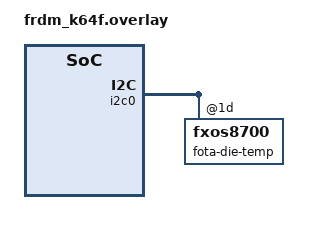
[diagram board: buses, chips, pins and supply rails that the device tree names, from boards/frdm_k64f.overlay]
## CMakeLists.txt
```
cmake_minimum_required(VERSION 3.8.2)

# This application has its own Kconfig options.
set(KCONFIG_ROOT ${CMAKE_CURRENT_SOURCE_DIR}/Kconfig)

# CONF_FILE is prj.conf, plus (in addition to, not or) the following, if they
# exist:
#   - local.conf
#   - boards/${BOARD}.conf
#   - boards/${BOARD}-local.conf
#
# The possibly nonexistent files need to be absolute paths; otherwise, the
# behavior of EXISTS is not well-defined.
set(CONF_FILE prj.conf)
if(EXISTS ${CMAKE_CURRENT_SOURCE_DIR}/local.conf)
  set(CONF_FILE ${CONF_FILE} " local.conf")
endif()
if(EXISTS ${CMAKE_CURRENT_SOURCE_DIR}/boards/${BOARD}.conf)
  set(CONF_FILE ${CONF_FILE} " boards/${BOARD}.conf")
endif()
if(EXISTS ${CMAKE_CURRENT_SOURCE_DIR}/boards/${BOARD}-local.conf)
  set(CONF_FILE ${CONF_FILE} " boards/${BOARD}-local.conf")
endif()

# DTC overlays are split into a part that is specific to the
# application image (common.overlay) and a part that is shared by both
# the application and MCUboot builds (mcuboot.overlay).
set(DTC_OVERLAY_FILE
  "${CMAKE_CURRENT_SOURCE_DIR}/common.overlay ${CMAKE_CURRENT_SOURCE_DIR}/mcuboot.overlay")
# Individual boards may also define DTS overlays.
if(EXISTS ${CMAKE_CURRENT_SOURCE_DIR}/boards/${BOARD}.overlay)
  set(DTC_OVERLAY_FILE
    ${DTC_OVERLAY_FILE} " ${CMAKE_CURRENT_SOURCE_DIR}/boards/${BOARD}.overlay")
endif()

# Mandatory Zephyr boilerplate.
include($ENV{ZEPHYR_BASE}/cmake/app/boilerplate.cmake NO_POLICY_SCOPE)
project(NONE)

# Application "library" build configuration. TODO: move these out of this tree.
target_include_directories(app PRIVATE $ENV{ZEPHYR_BASE}/lib)

target_sources(app PRIVATE src/lib/hawkbit.c)
target_sources(app PRIVATE src/lib/product_id.c)

# Application build configuration.
target_include_directories(app PRIVATE $ENV{ZEPHYR_BASE}/tests/include)
target_include_directories(app PRIVATE ${CMAKE_CURRENT_SOURCE_DIR}/src/lib)

target_sources(app PRIVATE src/main.c)
target_sources(app PRIVATE src/blink_led.c)
target_sources(app PRIVATE src/app_work_queue.c)
target_sources(app PRIVATE src/mqtt_temperature.c)
target_sources_ifdef(CONFIG_BT               app PRIVATE src/bluetooth.c)
```

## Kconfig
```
# Copyright (c) 2017 Linaro Limited
# Copyright (c) 2017 Open Source Foundries Limited
# Copyright (c) 2018 Foundries.io
#
# SPDX-License-Identifier: Apache-2.0
#

mainmenu "Open Source Foundries dm-hawkbit-mqtt Configuration"

config FOTA_DEVICE
	bool "Enable FOTA device settings"
	default y
	select FOTA_DEVICE_SOC_SERIES_KINETIS_K6X if SOC_SERIES_KINETIS_K6X
	select FOTA_DEVICE_SOC_SERIES_NRF52X if SOC_SERIES_NRF52X
	help
	  Main config to enable device specific settings

config FOTA_DEVICE_SOC_SERIES_KINETIS_K6X
	bool "Kinetis K6x application settings"
	depends on !NET_L2_OPENTHREAD
	select NET_SHELL
	select NET_IPV4
	select NET_CONFIG_NEED_IPV4
	select NET_UDP # for DHCP
	default n

if FOTA_DEVICE_SOC_SERIES_KINETIS_K6X

# IPv6 is enabled by default in Zephyr's Kconfig when networking is selected.
config NET_IPV6
	default n

endif # FOTA_DEVICE_SOC_SERIES_KINETIS_K6X

config FOTA_DEVICE_SOC_SERIES_NRF52X
	bool "Nordic Semiconductor nRF52 application settings"
	select NET_IPV6
	select NET_CONFIG_NEED_IPV6
	select NET_CONFIG_BT_NODE
	select SENSOR
	select TEMP_NRF5
	select ENTROPY_NRF5_RNG
	select NET_SHELL if SOC_NRF52840
	default n

if FOTA_DEVICE_SOC_SERIES_NRF52X

config TEMP_NRF5_NAME
	default "fota-die-temp"

if !NET_L2_OPENTHREAD && !NET_L2_IEEE802154

config BT
	default y

config BT_CTLR
	default y

config BT_DEVICE_NAME
	default "ZMP IPSP node"

config NET_CONFIG_PEER_IPV6_ADDR
	default "fe80::d4e7:0:0:1"

config NET_L2_BT
	default y

config NET_CONFIG_INIT_TIMEOUT
	default 0

config NET_TCP_RETRY_COUNT
	# Reduced TCP retry count (default is 9) to avoid locking up the net and
	# bluetooth stack on packet retransmission as it consumes too much ram
	default 2 if SOC_NRF52832

config NET_UDP
	default n

config BT_RX_BUF_COUNT
	default 10

config BT_RX_BUF_LEN
	default 128

config BT_CTLR_RX_BUFFERS
	default 6

config BT_CTLR_TX_BUFFERS
	default 7

config BT_RX_STACK_SIZE
	default 2048

config BT_L2CAP_TX_BUF_COUNT
	default 6

# The following BT configs are not needed in peripheral mode.

config BT_CTLR_CONN_PARAM_REQ
	default n

config BT_CTLR_ADV_EXT
	default n

endif # !NET_L2_OPENTHREAD && !NET_L2_IEEE802154
endif # FOTA_DEVICE_SOC_SERIES_NRF52X

# General defaults

config NET_IF_UNICAST_IPV6_ADDR_COUNT
	default 3 if BT
	default 6 if NET_L2_OPENTHREAD

config NET_IF_MCAST_IPV6_ADDR_COUNT
	default 2 if BT
	default 8 if NET_L2_OPENTHREAD

config NET_RX_STACK_SIZE
	default 5120 if NET_L2_OPENTHREAD
	default 2048

config FOTA_ERASE_PROGRESSIVELY
	bool "Erase flash progressively when updating/receiving new firmware"
	default y if SOC_NRF52840
	help
	  If enabled, flash is erased as necessary when receiving and marking
	  new firmware as ok, instead of erasing the whole image slot at once.
	  This is necessary on some hardware that has long erase times, to
	  prevent long wait times at various stages where large erases are
	  performed.

# TODO: get these from a credential partition instead.

config FOTA_MQTT_USERNAME
	string "MQTT username"
	default "mqtt-username"
	help
	   Username value to use when connecting to MQTT broker.

config FOTA_MQTT_PASSWORD
	string "MQTT password"
	default ""
	help
	   Password value to use when connecting to MQTT broker.

	   If this is the empty string, a password based on the board
	   and a board-specific ID number will be used instead. This
	   is intended for testing and development only.

module = FOTA
module-dep = LOG
module-str = Log level for FOTA application
source "subsys/logging/Kconfig.template.log_config"

# Leave this at the bottom: we need to override Zephyr's default settings
# with some of the values above.
source "$ZEPHYR_BASE/Kconfig.zephyr"
```

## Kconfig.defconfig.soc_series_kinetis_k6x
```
# Copyright (c) 2017 Linaro Limited
#
# SPDX-License-Identifier: Apache-2.0
#

if FOTA_DEVICE_SOC_SERIES_KINETIS_K6X

config NET_IF_UNICAST_IPV4_ADDR_COUNT
	int
	default 3

config NET_IF_MCAST_IPV4_ADDR_COUNT
	int
	default 2

config NET_MAX_CONN
	int
	default 5

config NET_MAX_CONTEXTS
	int
	default 5

config NET_RX_STACK_SIZE
	int
	default 2048

config NET_SAMPLES_MY_IPV4_ADDR
	string
	default 192.168.0.2

config NET_SAMPLES_PEER_IPV4_ADDR
	string
	default 192.168.0.1

config TEXT_SECTION_OFFSET
	hex
	default 0x200

config FLASH_LOAD_OFFSET
	hex
	default 0x20000

endif # FOTA_DEVICE_SOC_SERIES_KINETIS_K6X
```

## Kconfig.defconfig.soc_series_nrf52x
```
# Copyright (c) 2017 Linaro Limited
#
# SPDX-License-Identifier: Apache-2.0
#

if FOTA_DEVICE_SOC_SERIES_NRF52X

config NET_IF_UNICAST_IPV6_ADDR_COUNT
	int
	default 3

config NET_IF_MCAST_IPV6_ADDR_COUNT
	int
	default 2

config NET_MAX_CONN
	int
	default 3

config NET_MAX_CONTEXTS
	int
	default 3

config NET_RX_STACK_SIZE
	int
	default 3072

config NET_NBUF_DATA_SIZE
	int
	default 384

config BLUETOOTH_RX_BUF_COUNT
	int
	default 20

config BLUETOOTH_RX_BUF_LEN
	int
	default 128

config BLUETOOTH_CONTROLLER_RX_BUFFERS
	int
	default 6

config BLUETOOTH_CONTROLLER_TX_BUFFERS
	int
	default 7

config BLUETOOTH_RX_STACK_SIZE
	int
	default 2048

config TEXT_SECTION_OFFSET
	hex
	default 0x100

config FLASH_LOAD_OFFSET
	hex
	default 0x8000

config TEMP_NRF5_NAME
	string
	default fota-mcu-temp

endif # FOTA_DEVICE_SOC_SERIES_NRF52X
```

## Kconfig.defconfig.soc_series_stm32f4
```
# Copyright (c) 2017 Linaro Limited
#
# SPDX-License-Identifier: Apache-2.0
#

if FOTA_DEVICE_SOC_SERIES_STM32F4X

config NET_IF_UNICAST_IPV6_ADDR_COUNT
	int
	default 3

config NET_IF_MCAST_IPV6_ADDR_COUNT
	int
	default 2

config NET_MAX_CONN
	int
	default 3

config NET_MAX_CONTEXTS
	int
	default 3

config NET_RX_STACK_SIZE
	int
	default 3072

config NET_NBUF_DATA_SIZE
	int
	default 384

config BLUETOOTH_RX_BUF_COUNT
	int
	default 20

config BLUETOOTH_RX_BUF_LEN
	int
	default 128

config BLUETOOTH_RX_STACK_SIZE
	int
	default 2048

config TEXT_SECTION_OFFSET
	hex
	default 0x100

config FLASH_LOAD_OFFSET
	hex
	default 0x20000

config TEMP_STM32F401X_NAME
	string
	default fota-mcu-temp

endif # FOTA_DEVICE_SOC_SERIES_STM32F4X
```

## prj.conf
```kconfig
CONFIG_BOOT_BANNER=y
CONFIG_REBOOT=y
CONFIG_FLASH=y
CONFIG_NETWORKING=y
CONFIG_GPIO=y

# Network
CONFIG_NET_TCP=y
CONFIG_NET_MGMT=y
CONFIG_NET_MGMT_EVENT=y
CONFIG_NET_CONTEXT_NET_PKT_POOL=y
CONFIG_NET_PKT_RX_COUNT=10
CONFIG_NET_PKT_TX_COUNT=10
CONFIG_NET_BUF_RX_COUNT=15
CONFIG_NET_BUF_TX_COUNT=15
CONFIG_NET_BUF_DATA_SIZE=256
CONFIG_NET_TCP_INIT_RETRANSMISSION_TIMEOUT=2000

# MQTT
# Select MQTT_LIB manually for now to send temp data
CONFIG_MQTT_LEGACY_LIB=y
# This value was chosen arbitrarily
CONFIG_MQTT_LEGACY_MSG_MAX_SIZE=255
# add 2 more message allowance to the netbuf pool for MQTT
# Trello: https://trello.com/c/FklLCmQj/208-mqtt-seems-to-need-1-extra-buffer-at-times-to-avoid-dying-until-reboot
CONFIG_MQTT_LEGACY_ADDITIONAL_BUFFER_CTR=2
CONFIG_MQTT_LEGACY_SUBSCRIBE_MAX_TOPICS=2

# General
CONFIG_HTTP_PARSER=y

# FOTA
CONFIG_BOOTLOADER_MCUBOOT=y
CONFIG_FOTA_DEVICE=y
CONFIG_IMG_MANAGER=y
CONFIG_MCUBOOT_IMG_MANAGER=y
# The hawkBit library requires JSON support.
CONFIG_JSON_LIBRARY=y
# We run the hawkBit work on the main thread via the application work
# queue.  This requires a bit of extra space on the main stack. The
# desired value is 2300, but we add a bit to make it a multiple of 8
# for stack alignment requirements.
CONFIG_MAIN_STACK_SIZE=2304
# We don't use the upstream flash storage partition when it exists, so
# allocate its flash space to our application.
# CONFIG_FS_FLASH_STORAGE_PARTITION is not set

# NET APP
CONFIG_NET_APP=y
CONFIG_NET_APP_CLIENT=y
CONFIG_NET_CONFIG_SETTINGS=y
CONFIG_HTTP=y
CONFIG_HTTP_CLIENT=y
CONFIG_HTTP_CLIENT_NETWORK_TIMEOUT=10

# Logging
CONFIG_LOG=y
CONFIG_LOG_DEFAULT_LEVEL=0
CONFIG_BT_LOG_LEVEL_OFF=y
CONFIG_FOTA_LOG_LEVEL_DBG=y

# Bluetooth (when enabled) debug
#CONFIG_BT_DEBUG_LOG=y
#CONFIG_BT_DEBUG_HCI_DRIVER=y

# Add flash RW to MPU
CONFIG_MPU_ALLOW_FLASH_WRITE=y

# Debug helpers
#CONFIG_NET_LOG=y
#CONFIG_NET_APP_LOG_LEVEL_DBG=y
#CONFIG_NET_CORE_LOG_LEVEL_DBG=y
#CONFIG_NET_IF_LOG_LEVEL_DBG=y
#CONFIG_NET_UTILS_LOG_LEVEL_DBG=y
#CONFIG_NET_CONTEXT_LOG_LEVEL_DBG=y
#CONFIG_NET_PKT_LOG_LEVEL_DBG=y
#CONFIG_NET_CONN_LOG_LEVEL_DBG=y
#CONFIG_NET_ROUTE_LOG_LEVEL_DBG=y
#CONFIG_NET_IPV4_LOG_LEVEL_DBG=y
#CONFIG_NET_IPV6_LOG_LEVEL_DBG=y
#CONFIG_NET_ICMPV6_LOG_LEVEL_DBG=y
#CONFIG_NET_IPV6_NBR_CACHE_LOG_LEVEL_DBG=y
#CONFIG_NET_6LO_LOG_LEVEL_DBG=y
#CONFIG_NET_TCP_LOG_LEVEL_DBG=y
#CONFIG_NET_L2_ETHERNET_LOG_LEVEL_DBG=y
#CONFIG_NET_L2_BT_LOG_LEVEL_DBG=y
#CONFIG_INIT_STACKS=y
#CONFIG_STACK_USAGE=y
```

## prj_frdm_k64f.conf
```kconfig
CONFIG_FLASH=y
CONFIG_NETWORKING=y
CONFIG_NET_TCP=y
CONFIG_NET_CONTEXT_SYNC_RECV=n
CONFIG_NET_IPV6=n
CONFIG_NET_IPV4=y
#CONFIG_NET_DHCPV4=y
CONFIG_NET_IF_UNICAST_IPV4_ADDR_COUNT=3
CONFIG_NET_IF_MCAST_IPV4_ADDR_COUNT=2
CONFIG_NET_MAX_CONTEXTS=20
CONFIG_NET_RX_STACK_SIZE=2048
CONFIG_NET_NBUF_RX_COUNT=10
CONFIG_NET_NBUF_TX_COUNT=10
CONFIG_NET_NBUF_DATA_COUNT=20
CONFIG_MINIMAL_LIBC_EXTENDED=y
CONFIG_HTTP_PARSER=y
CONFIG_NET_SAMPLES_IP_ADDRESSES=y
CONFIG_NET_SAMPLES_PEER_IPV6_ADDR="fc00::d4e7:0:0:1"
CONFIG_NET_SAMPLES_MY_IPV4_ADDR="192.168.0.2"
CONFIG_NET_SAMPLES_PEER_IPV4_ADDR="192.168.0.1"

# FRDM K64F
CONFIG_NET_L2_ETHERNET=y
CONFIG_NET_SHELL=y
CONFIG_TEXT_SECTION_OFFSET=0x200
CONFIG_FLASH_BASE_ADDRESS=0x00020000

# Debug helpers
#CONFIG_NET_LOG=y
#CONFIG_SYS_LOG_NET_LEVEL=4
#CONFIG_NET_DEBUG_CORE=y
#CONFIG_NET_DEBUG_IF=y
#CONFIG_NET_DEBUG_UTILS=y
#CONFIG_NET_DEBUG_CONTEXT=y
#CONFIG_NET_DEBUG_NET_BUF=y
#CONFIG_NET_DEBUG_CONN=y
#CONFIG_NET_DEBUG_ROUTE=y
#CONFIG_NET_DEBUG_IPV6=y
#CONFIG_NET_DEBUG_ICMPV6=y
#CONFIG_NET_DEBUG_IPV6_NBR_CACHE=y
#CONFIG_NET_DEBUG_6LO=y
#CONFIG_NET_DEBUG_TCP=y
#CONFIG_NET_DEBUG_L2_BLUETOOTH=y
#CONFIG_BLUETOOTH_DEBUG_HCI_DRIVER=y
#CONFIG_INIT_STACKS=y
```

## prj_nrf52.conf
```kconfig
CONFIG_REBOOT=y
CONFIG_FLASH=y
CONFIG_NETWORKING=y

# Network
CONFIG_NET_TCP=y
# CONFIG_NET_UDP is not set
CONFIG_NET_CONTEXT_SYNC_RECV=n
CONFIG_NET_L2_BLUETOOTH=y
CONFIG_NET_L2_BLUETOOTH_ZEP1656=y
CONFIG_NET_IF_UNICAST_IPV6_ADDR_COUNT=3
CONFIG_NET_IF_MCAST_IPV6_ADDR_COUNT=2
CONFIG_NET_MAX_CONN=3
CONFIG_NET_MAX_CONTEXTS=3
CONFIG_NET_RX_STACK_SIZE=3072
CONFIG_NET_NBUF_RX_COUNT=20
CONFIG_NET_NBUF_TX_COUNT=20
CONFIG_NET_NBUF_DATA_COUNT=30
CONFIG_NET_NBUF_DATA_SIZE=384

# Bluetooth
CONFIG_BLUETOOTH_DEBUG_LOG=y
## Careful as this also depends on the host BT adapter
CONFIG_BLUETOOTH_RX_BUF_COUNT=20
CONFIG_BLUETOOTH_RX_BUF_LEN=128
CONFIG_BLUETOOTH_CONTROLLER_RX_BUFFERS=6
CONFIG_BLUETOOTH_CONTROLLER_TX_BUFFERS=7
CONFIG_BLUETOOTH_RX_STACK_SIZE=2048

# Offsets for bank 1
CONFIG_TEXT_SECTION_OFFSET=0x100
CONFIG_FLASH_LOAD_OFFSET=0x8000

CONFIG_MINIMAL_LIBC_EXTENDED=y
CONFIG_HTTP_PARSER=y
CONFIG_TEST_RANDOM_GENERATOR=y

# MQTT
CONFIG_MQTT_LIB=y
# This value was chosen arbitrarily
CONFIG_MQTT_MSG_MAX_SIZE=255
CONFIG_MQTT_SUBSCRIBE_MAX_TOPICS=2

# Utils
#CONFIG_NET_SHELL=y
#CONFIG_NET_L2_BLUETOOTH_SHELL=y

# Debug helpers
#CONFIG_NET_LOG=y
#CONFIG_SYS_LOG_NET_LEVEL=4
#CONFIG_NET_DEBUG_CORE=y
#CONFIG_NET_DEBUG_IF=y
#CONFIG_NET_DEBUG_UTILS=y
#CONFIG_NET_DEBUG_CONTEXT=y
#CONFIG_NET_DEBUG_NET_BUF=y
#CONFIG_NET_DEBUG_CONN=y
#CONFIG_NET_DEBUG_ROUTE=y
#CONFIG_NET_DEBUG_IPV6=y
#CONFIG_NET_DEBUG_ICMPV6=y
#CONFIG_NET_DEBUG_IPV6_NBR_CACHE=y
#CONFIG_NET_DEBUG_6LO=y
#CONFIG_NET_DEBUG_TCP=y
#CONFIG_NET_DEBUG_L2_BLUETOOTH=y
#CONFIG_BLUETOOTH_DEBUG_HCI_DRIVER=y
#CONFIG_INIT_STACKS=y
```

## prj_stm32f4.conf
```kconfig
CONFIG_FLASH=y
CONFIG_NETWORKING=y
CONFIG_NET_TCP=y
CONFIG_NET_CONTEXT_SYNC_RECV=n
CONFIG_NET_L2_BLUETOOTH=y
CONFIG_NET_IF_UNICAST_IPV6_ADDR_COUNT=3
CONFIG_NET_IF_MCAST_IPV6_ADDR_COUNT=2
CONFIG_NET_MAX_CONTEXTS=20
CONFIG_NET_RX_STACK_SIZE=2048
CONFIG_NET_NBUF_RX_COUNT=10
CONFIG_NET_NBUF_TX_COUNT=10
CONFIG_NET_NBUF_DATA_COUNT=20
CONFIG_BLUETOOTH_HCI=y
CONFIG_BLUETOOTH_SPI_TRANSPORT=y
CONFIG_BLUETOOTH_DEBUG_LOG=y
CONFIG_BLUETOOTH_RX_BUF_COUNT=20
CONFIG_BLUETOOTH_RX_BUF_LEN=1024
CONFIG_MINIMAL_LIBC_EXTENDED=y
CONFIG_HTTP_PARSER=y
CONFIG_TEST_RANDOM_GENERATOR=y
CONFIG_NET_SHELL=y

# STM32F4 (Nucleo, Carbon)
CONFIG_TEXT_SECTION_OFFSET=0x100
CONFIG_FLASH_BASE_ADDRESS=0x08020000

# Debug helpers
#CONFIG_NET_LOG=y
#CONFIG_SYS_LOG_NET_LEVEL=4
#CONFIG_NET_DEBUG_CORE=y
#CONFIG_NET_DEBUG_IF=y
#CONFIG_NET_DEBUG_UTILS=y
#CONFIG_NET_DEBUG_CONTEXT=y
#CONFIG_NET_DEBUG_NET_BUF=y
#CONFIG_NET_DEBUG_CONN=y
#CONFIG_NET_DEBUG_ROUTE=y
#CONFIG_NET_DEBUG_IPV6=y
#CONFIG_NET_DEBUG_ICMPV6=y
#CONFIG_NET_DEBUG_IPV6_NBR_CACHE=y
#CONFIG_NET_DEBUG_6LO=y
#CONFIG_NET_DEBUG_TCP=y
#CONFIG_NET_DEBUG_L2_BLUETOOTH=y
#CONFIG_BLUETOOTH_DEBUG_HCI_DRIVER=y
#CONFIG_INIT_STACKS=y
```

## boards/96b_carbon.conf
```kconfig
# network stack settings
CONFIG_NET_IF_UNICAST_IPV6_ADDR_COUNT=3
CONFIG_NET_IF_MCAST_IPV6_ADDR_COUNT=2

# bluetooth settings
CONFIG_BLUETOOTH_RX_BUF_COUNT=10
CONFIG_BLUETOOTH_RX_BUF_LEN=128
CONFIG_BLUETOOTH_CONTROLLER_RX_BUFFERS=6
CONFIG_BLUETOOTH_CONTROLLER_TX_BUFFERS=7
CONFIG_BLUETOOTH_RX_STACK_SIZE=2048

# HW settings
CONFIG_TEXT_SECTION_OFFSET=0x100
CONFIG_FLASH_LOAD_OFFSET=0x20000

# temp settings
CONFIG_TEMP_STM32F401X_NAME="fota-mcu-temp"

# size optimizations. quiet down the logs and turn of an unnececssary
# SPI device.
CONFIG_SYS_LOG_FOTA_LEVEL=3
# CONFIG_SPI_1 is not set
```

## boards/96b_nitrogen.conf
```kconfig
CONFIG_NET_L2_BT=y

# network stack settings
CONFIG_NET_IF_UNICAST_IPV6_ADDR_COUNT=3
CONFIG_NET_IF_MCAST_IPV6_ADDR_COUNT=2
CONFIG_NET_CONFIG_INIT_TIMEOUT=0
# Reduced TCP retry count (default is 9) to avoid locking up the net and
# bluetooth stack on packet retransmission as it consumes too much ram
CONFIG_NET_TCP_RETRY_COUNT=2

# bluetooth settings
CONFIG_BT_RX_BUF_COUNT=10
CONFIG_BT_RX_BUF_LEN=128
CONFIG_BT_CTLR_RX_BUFFERS=6
CONFIG_BT_CTLR_TX_BUFFERS=7
CONFIG_BT_RX_STACK_SIZE=2048
CONFIG_BT_L2CAP_TX_BUF_COUNT=6

# temp settings
CONFIG_TEMP_NRF5_NAME="fota-die-temp"

# Default IP configuration for IPv6 (gateway)
CONFIG_NET_CONFIG_PEER_IPV6_ADDR="fe80::d4e7:0:0:1"
```

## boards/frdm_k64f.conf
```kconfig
# network stack settings
CONFIG_NET_IF_UNICAST_IPV4_ADDR_COUNT=3
CONFIG_NET_IF_MCAST_IPV4_ADDR_COUNT=2
CONFIG_NET_ARP_TABLE_SIZE=10

# Use FXOS8700 as off-chip temperature sensor.
CONFIG_SENSOR=y
CONFIG_I2C=y
CONFIG_FXOS8700=y
CONFIG_FXOS8700_MODE_HYBRID=y
CONFIG_FXOS8700_TEMP=y
CONFIG_FXOS8700_TRIGGER_GLOBAL_THREAD=y
```

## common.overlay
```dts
/*
 * DT overlay file for nodes shared across multiple boards
 * that is *not* shared with the MCUboot build.
 */

#ifdef CONFIG_SOC_NRF52832
&flash0 {
	partitions {
		app_state_partition: partition@7d000 {
			label = "application-state";
			reg = <0x0007d000 0x3000>;
		};
	};
};
#endif /* CONFIG_SOC_NRF52832 */

#ifdef CONFIG_SOC_NRF52840
&flash0 {
	partitions {
		app_state_partition: partition@fd000 {
			label = "application-state";
			reg = <0x000FD000 0x00003000>;
		};
	};
};
#endif /* CONFIG_SOC_NRF52840 */
```

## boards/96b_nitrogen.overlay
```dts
&flash0 {
	partitions {
		app_state_partition: partition@7d000 {
			label = "application-state";
			reg = <0x0007d000 0x3000>;
		};
	};
};
```

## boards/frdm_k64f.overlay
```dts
&flash0 {
	partitions {
		app_state_partition: partition@10000 {
			label = "application-state";
			reg = <0x00010000 0x00010000>;
		};
	};
};

&i2c0 {
	fxos8700@1d {
		label = "fota-die-temp";
	};
};
```

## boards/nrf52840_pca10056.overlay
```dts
&flash0 {
	partitions {
		app_state_partition: partition@fd000 {
			label = "application-state";
			reg = <0x000FD000 0x00003000>;
		};
	};
};
```

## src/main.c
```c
/*
 * Copyright (c) 2016-2017 Linaro Limited
 * Copyright (c) 2018 Open Source Foundries Limited
 * Copyright (c) 2018 Foundries.io
 *
 * SPDX-License-Identifier: Apache-2.0
 */

#define LOG_MODULE_NAME fota_main
#define LOG_LEVEL CONFIG_FOTA_LOG_LEVEL

#include <logging/log.h>
LOG_MODULE_REGISTER(LOG_MODULE_NAME);

#include <misc/stack.h>
#include <gpio.h>
#include <sensor.h>
#include <tc_util.h>
#include <init.h>

/* Local helpers and functions */
#include "tstamp_log.h"
#include "app_work_queue.h"
#include "blink_led.h"
#include "product_id.h"
#include "hawkbit.h"
#include "mqtt_temperature.h"

void main(void)
{
	tstamp_hook_install();
	app_wq_init();

	LOG_INF("Open Source Foundries MQTT + hawkbit FOTA application");
	LOG_INF("Device: %s, Serial: %x",
		product_id_get()->name, product_id_get()->number);

	TC_START("Running Built in Self Test (BIST)");

	TC_PRINT("Initializing Hawkbit backend\n");
	if (hawkbit_start(app_work_q)) {
		_TC_END_RESULT(TC_FAIL, "hawkbit_init");
		TC_END_REPORT(TC_FAIL);
		return;
	}
	_TC_END_RESULT(TC_PASS, "hawkbit_init");

	TC_PRINT("Initializing MQTT temperature service\n");
	if (mqtt_temperature_start()) {
		_TC_END_RESULT(TC_FAIL, "mqtt_init");
		TC_END_REPORT(TC_FAIL);
		return;
	}
	_TC_END_RESULT(TC_PASS, "mqtt_init");

	TC_PRINT("Blinking LED\n");
	if (blink_led_start()) {
		_TC_END_RESULT(TC_FAIL, "blink_led");
		TC_END_REPORT(TC_FAIL);
		return;
	}
	_TC_END_RESULT(TC_PASS, "blink_led");

	TC_END_REPORT(TC_PASS);

	/*
	 * From this point on, just handle work.
	 */
	app_wq_run();
}
```

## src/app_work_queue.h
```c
/*
 * Copyright (c) 2017 Linaro Limited
 * Copyright (c) 2018 Foundries.io
 *
 * SPDX-License-Identifier: Apache-2.0
 */

#ifndef FOTA_APP_WORK_QUEUE_H__
#define FOTA_APP_WORK_QUEUE_H__

/**
 * @file
 * @brief FOTA application work queue
 *
 * This is a single work queue which can be used for sleeping tasks
 * within this application. It is primarily intended to schedule work
 * items which must run sequentially from different application-level
 * threads.
 *
 * Work handlers submitted to this queue may sleep or yield.
 *
 * Work may be submitted to this queue only by threads started from
 * main().
 */

#include <zephyr.h>
#include <zephyr/types.h>

/*
 * This is the work queue itself, which can be passed along to other
 * APIs which submit work.
 */
extern struct k_work_q *app_work_q;

/**
 * @brief Initialize the application work queue.
 *
 * Work may be submitted to the queue after this function returns. It
 * will not be processed until app_wq_run() is called.
 *
 * @see app_wq_run()
 */
void app_wq_init(void);

/**
 * @brief Start handling work queue events in the current thread.
 *
 * Unlike k_work_q_start(), this does not create a new thread;
 * instead, it runs in the caller's.
 *
 * @see k_work_q_start()
 */
FUNC_NORETURN
void app_wq_run(void);

/**
 * @brief Submit work to the application work queue thread.
 * @param work Work to submit
 * @see k_work_submit_to_queue()
 */
static inline void app_wq_submit(struct k_work *work)
{
	k_work_submit_to_queue(app_work_q, work);
}

/**
 * @brief Submit delayed work to the application work queue thread.
 * @param work     Work to submit
 * @param delay_ms Delay in milliseconds
 * @return k_delayed_work_submit_to_queue() return value.
 * @see k_delayed_work_submit_to_queue()
 */
static inline int app_wq_submit_delayed(struct k_delayed_work *work,
					s32_t delay_ms)
{
	return k_delayed_work_submit_to_queue(app_work_q, work, delay_ms);
}

#endif /* FOTA_APP_WORK_QUEUE_H__ */
```

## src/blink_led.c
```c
/*
 * Copyright (c) 2018 Open Source Foundries Limited
 * Copyright (c) 2018 Foundries.io
 *
 * SPDX-License-Identifier: Apache-2.0
 */

#include "blink_led.h"

#include <device.h>
#include <gpio.h>

#include "app_work_queue.h"

/*
 * GPIOs. These can be customized by device if needed.
 */
#define LED_GPIO_PIN	LED0_GPIO_PIN
#if defined(LED0_GPIO_PORT)
#define LED_GPIO_PORT	LED0_GPIO_PORT
#else
#define LED_GPIO_PORT	LED0_GPIO_CONTROLLER
#endif

#define BLINK_DELAY     K_SECONDS(1)

static struct k_delayed_work blink_work;
static struct device *blink_gpio;
static bool blink_enable = true;

static void blink_handler(struct k_work *work)
{
	gpio_pin_write(blink_gpio, LED_GPIO_PIN, blink_enable);
	blink_enable = !blink_enable;
	app_wq_submit_delayed(&blink_work, BLINK_DELAY);
}

int blink_led_start(void)
{
	k_delayed_work_init(&blink_work, blink_handler);

	blink_gpio = device_get_binding(LED_GPIO_PORT);
	if (blink_gpio == NULL) {
		return -ENODEV;
	}

	gpio_pin_configure(blink_gpio, LED_GPIO_PIN, GPIO_DIR_OUT);
	gpio_pin_write(blink_gpio, LED_GPIO_PIN, blink_enable);
	app_wq_submit_delayed(&blink_work, BLINK_DELAY);

	return 0;
}
```

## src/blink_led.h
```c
/*
 * Copyright (c) 2018 Open Source Foundries Limited
 * Copyright (c) 2018 Foundries.io
 *
 * SPDX-License-Identifier: Apache-2.0
 */

#ifndef FOTA_BLINK_LED_H__
#define FOTA_BLINK_LED_H__

/**
 * @file
 * @brief Work queue-based LED heartbeat support.
 */

#include <zephyr.h>

/**
 * @brief Start blinking an LED on the application work queue.
 */
int blink_led_start(void);

#endif /* FOTA_BLINK_LED_H__ */
```

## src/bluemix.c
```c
/*
 * Copyright (c) 2017 Linaro Limited
 *
 * SPDX-License-Identifier: Apache-2.0
 */

/*
 * Much of the initial code here was pulled from
 * samples/net/mqtt_publisher
 */

#include "config.h"

#include <zephyr.h>

#include <net/net_context.h>
#include <net/nbuf.h>

#include <string.h>
#include <errno.h>
#include <stdio.h>

#include "ota_debug.h"
#include "device.h"
#include "tcp.h"
#include "bluemix.h"

#define BLUEMIX_USERNAME	"use-token-auth"
#define APP_CONNECT_TRIES	10
#define APP_SLEEP_MSECS		K_MSEC(500)
#define APP_TX_RX_TIMEOUT	K_MSEC(300)
#define MQTT_SUBSCRIBE_WAIT	K_MSEC(1000)
#define MQTT_DISCONNECT_WAIT	K_MSEC(1000)
#define BLUEMIX_MGMT_WAIT	K_MSEC(1200) /* 400 msec has been observed */

/*
 * Various topics are of the form:
 * "foo/type/<device_type>/id/<device_id>/bar".
 * This is a convenience macro for those cases.
 */
#define INIT_DEVICE_TOPIC(ctx, fmt)					\
	snprintf(ctx->bm_topic, sizeof(ctx->bm_topic), fmt,		\
		 CONFIG_BLUEMIX_DEVICE_TYPE, ctx->bm_id)

static inline struct bluemix_ctx* mqtt_to_bluemix(struct mqtt_ctx *mqtt)
{
	return CONTAINER_OF(mqtt, struct bluemix_ctx, mqtt_ctx);
}

static inline int wait_for_mqtt(struct bluemix_ctx *ctx, int32_t timeout)
{
	return k_sem_take(&ctx->reply_sem, timeout);
}

/*
 * MQTT helpers
 */

static void connect_cb(struct mqtt_ctx *ctx)
{
	OTA_DBG("MQTT connect CB\n");
}

static void disconnect_cb(struct mqtt_ctx *ctx)
{
	OTA_DBG("MQTT disconnect CB\n");
	k_sem_give(&mqtt_to_bluemix(ctx)->reply_sem);
}

static int publish_tx_cb(struct mqtt_ctx *ctx, uint16_t pkt_id,
			 enum mqtt_packet type)
{
	OTA_DBG("MQTT publish TX CB\n");
	return 0;
}

static int publish_rx_cb(struct mqtt_ctx *ctx, struct mqtt_publish_msg *msg,
			 uint16_t pkt_id, enum mqtt_packet type)
{
	struct bluemix_ctx *bm_ctx;

	OTA_DBG("MQTT publish RX CB\n");
	bm_ctx = mqtt_to_bluemix(ctx);

	if (msg->topic_len + 1 > sizeof(bm_ctx->bm_topic)) {
		bm_ctx->bm_fatal_err = -ENOMEM;
		OTA_ERR("Bluemix topic buffer size %u overflowed by %u B\n",
			sizeof(bm_ctx->bm_topic),
			msg->topic_len + 1 - sizeof(bm_ctx->bm_topic));

	} else if (msg->msg_len + 1 > sizeof(bm_ctx->bm_message)) {
		bm_ctx->bm_fatal_err = -ENOMEM;
		OTA_ERR("Bluemix message buffer size %u overflowed by %u B\n",
			sizeof(bm_ctx->bm_message),
			msg->msg_len + 1 - sizeof(bm_ctx->bm_message));
	}
	if (bm_ctx->bm_fatal_err) {
		/* Propagate fatal error to waiter. */
		k_sem_give(&bm_ctx->reply_sem);
		return 0;
	}

	memcpy(bm_ctx->bm_topic, msg->topic, msg->topic_len);
	bm_ctx->bm_topic[msg->topic_len] = '\0';
	memcpy(bm_ctx->bm_message, msg->msg, msg->msg_len);
	bm_ctx->bm_message[msg->msg_len] = '\0';
	k_sem_give(&bm_ctx->reply_sem);

	/* FIXME: parse JSON and validate any pending reqId. */
	OTA_DBG("topic: %s\n", bm_ctx->bm_topic);
	OTA_DBG("msg: %s\n", bm_ctx->bm_message);
	return 0;
}

static int subscribe_cb(struct mqtt_ctx *ctx, uint16_t pkt_id,
			uint8_t items, enum mqtt_qos qos[])
{
	/* FIXME: validate this is the suback we were waiting for. */
	OTA_DBG("MQTT subscribe CB\n");

	k_sem_give(&mqtt_to_bluemix(ctx)->reply_sem);
	return 0;
}

static int unsubscribe_cb(struct mqtt_ctx *ctx, uint16_t pkt_id)
{
	OTA_DBG("MQTT unsubscribe CB\n");
	return 0;
}

static void malformed_cb(struct mqtt_ctx *ctx, uint16_t pkt_type)
{
	OTA_DBG("MQTT malformed CB\n");
}

/* In this routine we block until the connected variable is 1 */
static int try_to_connect(struct mqtt_ctx *ctx, struct mqtt_connect_msg *msg)
{
	int i = 0;
	int ret;

	while (i++ < APP_CONNECT_TRIES && !ctx->connected) {
		OTA_DBG(">>> connect: client_id=[%s/%d] user_name=[%s/%d]\n",
			msg->client_id, msg->client_id_len,
			msg->user_name, msg->user_name_len);
		ret = mqtt_tx_connect(ctx, msg);
		k_sleep(APP_SLEEP_MSECS);
		OTA_DBG("mqtt_tx_connect %d\n", ret);
		if (ret) {
			continue;
		}
	}

	if (ctx->connected) {
		return 0;
	}

	return -EINVAL;
}

/*
 * Bluemix
 */

static int subscribe_to_topic(struct bluemix_ctx *ctx)
{
	const char* topics[] = { ctx->bm_topic };
	const enum mqtt_qos qos0[] = { MQTT_QoS0 };
	int ret;

	ret = mqtt_tx_subscribe(&ctx->mqtt_ctx, sys_rand32_get() & 0xffff,
				1, topics, qos0);
	if (ret) {
		OTA_ERR("mqtt_tx_subscribe: %d\n", ret);
		return ret;
	}
	ret = wait_for_mqtt(ctx, MQTT_SUBSCRIBE_WAIT);
	OTA_DBG("wait_for_mqtt: %d\n", ret);
	return ret;
}

static int publish_message(struct bluemix_ctx *ctx)
{
	OTA_DBG("topic:%s\n", ctx->pub_msg.topic);
	OTA_DBG("message:%s\n", ctx->pub_msg.msg);
	return mqtt_tx_publish(&ctx->mqtt_ctx, &ctx->pub_msg);
}

#if (CONFIG_DM_BACKEND == BACKEND_BLUEMIX)
static void build_req_uuid(struct bluemix_ctx *ctx) /* TODO: improve this. */
{
	snprintf(ctx->bm_req_id, sizeof(ctx->bm_req_id),
		 "%08x-401c-453c-b8f5-%012x",
		 product_id.number, ctx->bm_next_req_id++);
}

static void build_manage_request(struct bluemix_ctx *ctx)
{
	struct mqtt_publish_msg *pub_msg = &ctx->pub_msg;
	uint8_t *buffer = ctx->bm_message;
	size_t size = sizeof(ctx->bm_message);
	char *helper;

	memset(buffer, 0, size);
	helper = buffer;

	INIT_DEVICE_TOPIC(ctx, "iotdevice-1/type/%s/id/%s/mgmt/manage");
	build_req_uuid(ctx);
	snprintf(helper, size,
	"{"
		"\"d\":{"
			"\"supports\":{"
			    "\"deviceActions\":true,"
			    "\"firmwareActions\":true"
			"},"
			"\"deviceInfo\":{"
			    "\"serialNumber\":\"%08x\","
			    "\"fwVersion\":\"1.0\""
			"}"
		"},"
		"\"reqId\":\"%s\""
		 "}", product_id.number, ctx->bm_req_id);

	pub_msg->msg = buffer;
	pub_msg->msg_len = strlen(pub_msg->msg);
	pub_msg->qos = MQTT_QoS0;
	pub_msg->topic = ctx->bm_topic;
	pub_msg->topic_len = strlen(pub_msg->topic);
}

static int become_managed_device(struct bluemix_ctx *ctx)
{
	int ret;
	OTA_DBG("becoming a managed device\n");
	INIT_DEVICE_TOPIC(ctx, "iotdm-1/type/%s/id/%s/#");
	ret = subscribe_to_topic(ctx);
	if (ret) {
		OTA_ERR("can't subscribe to device management topics: %d\n",
			ret);
		return ret;
	}
	build_manage_request(ctx);
	ret = publish_message(ctx);
	if (ret) {
		return ret;
	}
	ret = wait_for_mqtt(ctx, BLUEMIX_MGMT_WAIT);
	if (ret == -EAGAIN) {
		OTA_ERR("timed out\n");
		return ret;
	} else if (ctx->bm_fatal_err) {
		OTA_DBG("fatal error %d", ctx->bm_fatal_err);
		return ctx->bm_fatal_err;
	}
	OTA_DBG("wait_for_mqtt: %d\n", ret);
	return ret;
}
#endif	/* CONFIG_BLUEMIX_DM_BACKEND == BACKEND_BLUEMIX */

int bluemix_init(struct bluemix_ctx *ctx)
{
	int ret = 0;

	/* Set everything to 0 before assigning the required fields. */
	memset(ctx, 0x00, sizeof(*ctx));

	/*
	 * Initialize the IDs etc. before doing anything else.
	 */
	snprintf(ctx->bm_id, sizeof(ctx->bm_id), "%s-%08x",
		 CONFIG_BLUEMIX_DEVICE_TYPE, product_id.number);
	snprintf(ctx->client_id, sizeof(ctx->client_id),
		"d:%s:%s:%s", CONFIG_BLUEMIX_ORG, CONFIG_BLUEMIX_DEVICE_TYPE,
		ctx->bm_id);
	snprintf(ctx->bm_auth_token, sizeof(ctx->bm_auth_token),
		 "%08x", product_id.number);

	k_sem_init(&ctx->reply_sem, 0, 1);

	/*
	 * try connecting here so that tcp_get_net_context()
	 * will return a valid net_ctx later
	 */
	ret = tcp_connect(TCP_CTX_BLUEMIX);
	if (ret < 0) {
		return ret;
	}

	ctx->mqtt_ctx.connect = connect_cb;
	ctx->mqtt_ctx.disconnect = disconnect_cb;
	ctx->mqtt_ctx.malformed = malformed_cb;
	ctx->mqtt_ctx.publish_tx = publish_tx_cb;
	ctx->mqtt_ctx.publish_rx = publish_rx_cb;
	ctx->mqtt_ctx.subscribe = subscribe_cb;
	ctx->mqtt_ctx.unsubscribe = unsubscribe_cb;
	ctx->mqtt_ctx.net_timeout = APP_TX_RX_TIMEOUT;
	ctx->mqtt_ctx.net_ctx = tcp_get_net_context(TCP_CTX_BLUEMIX);

	ret = mqtt_init(&ctx->mqtt_ctx, MQTT_APP_PUBLISHER_SUBSCRIBER);
	OTA_DBG("mqtt_init %d\n", ret);
	if (ret) {
		goto out;
	}

	/* The connect message will be sent to the MQTT server (broker).
	 * If clean_session here is 0, the mqtt_ctx clean_session variable
	 * will be set to 0 also. Please don't do that, set always to 1.
	 * Clean session = 0 is not yet supported.
	 */
	ctx->connect_msg.client_id = ctx->client_id;
	ctx->connect_msg.client_id_len = strlen(ctx->connect_msg.client_id);
	/*
	 * FIXME: HACK
	 *
	 * This is part of a work-around for problems with the Zephyr
	 * MQTT stack. That stack doesn't correctly parse multiple
	 * MQTT packets within a single struct net_buf. Working around
	 * that implies trying to never receive multiple MQTT packets
	 * in the same net_buf.
	 *
	 * In order to avoid having to worry about scheduling PINGREQ
	 * packets (whose PINGRESP packets might come at an
	 * inconvenient time relative to other MQTT traffic), let's
	 * just disable the keep alive feature entirely for now. We
	 * should turn it on later.
	 */
	ctx->connect_msg.keep_alive = 0;
	ctx->connect_msg.user_name = BLUEMIX_USERNAME;
	ctx->connect_msg.user_name_len = strlen(ctx->connect_msg.user_name);
	ctx->connect_msg.password = ctx->bm_auth_token;
	ctx->connect_msg.password_len = strlen(ctx->connect_msg.password);
	ctx->connect_msg.clean_session = 1;

	ctx->connect_data = "CONNECTED";
	ctx->disconnect_data = "DISCONNECTED";
	ctx->publish_data = "PUBLISH";

	ret = try_to_connect(&ctx->mqtt_ctx, &ctx->connect_msg);
	OTA_DBG("try_to_connect %d\n", ret);
	if (ret) {
		goto out;
	}

	INIT_DEVICE_TOPIC(ctx, "iot-2/type/%s/id/%s/cmd/+/fmt/+");
	ret = subscribe_to_topic(ctx);
	if (ret) {
		OTA_ERR("can't subscribe to command topics: %d\n", ret);
		goto out;
	}

#if CONFIG_DM_BACKEND == BACKEND_BLUEMIX
	ret = become_managed_device(ctx);
	if (ret) {
		goto out;
	}
#endif

	return 0;
 out:
	tcp_cleanup(TCP_CTX_BLUEMIX, true);
	return ret;
}

int bluemix_fini(struct bluemix_ctx *ctx)
{
	int ret;

	ret = mqtt_tx_disconnect(&ctx->mqtt_ctx);
	if (ret) {
		OTA_ERR("%s: mqtt_tx_disconnect: %d\n", __func__, ret);
		goto cleanup;
	}
	ret = wait_for_mqtt(ctx, MQTT_DISCONNECT_WAIT);
 cleanup:
	tcp_cleanup(TCP_CTX_BLUEMIX, true);
	return ret;
}

int bluemix_pub_temp_c(struct bluemix_ctx *ctx, int temperature)
{
	struct mqtt_publish_msg *pub_msg = &ctx->pub_msg;
	INIT_DEVICE_TOPIC(ctx, "iot-2/type/%s/id/%s/evt/status/fmt/json");
	snprintf(ctx->bm_message, sizeof(ctx->bm_message),
		"{"
			"\"d\":{"
				"\"temperature\":%d"
			"}"
		"}",
		temperature);
	pub_msg->msg = ctx->bm_message;
	pub_msg->msg_len = strlen(pub_msg->msg);
	pub_msg->qos = MQTT_QoS0;
	pub_msg->topic = ctx->bm_topic;
	pub_msg->topic_len = strlen(pub_msg->topic);
	return publish_message(ctx);
}
```

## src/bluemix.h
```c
/*
 * Copyright (c) 2017 Linaro Limited
 *
 * SPDX-License-Identifier: Apache-2.0
 */

#ifndef	__FOTA_BLUEMIX_H__
#define	__FOTA_BLUEMIX_H__

#include "config.h"
#include <net/mqtt.h>
#include <kernel.h>

#if (CONFIG_DM_BACKEND == BACKEND_BLUEMIX)

#define BLUEMIX_IPADDR	"fe80::d4e7:0:0:1"
#define BLUEMIX_PORT	1883

#define APP_CONNECT_TRIES	10
#define APP_SLEEP_MSECS		K_MSEC(500)
#define APP_TX_RX_TIMEOUT       K_MSEC(300)

#define CONFIG_BLUEMIX_DEVICE_TYPE	CONFIG_BOARD

/* Response codes for device management requests. */
#define BLUEMIX_RC_SUCCEEDED 200
#define BLUEMIX_RC_ACCEPTED 202
#define BLUEMIX_RC_CHANGED 204
#define BLUEMIX_RC_BAD_REQUEST 400
#define BLUEMIX_RC_NOT_FOUND 404
#define BLUEMIX_RC_CONFLICT 409
#define BLUEMIX_RC_ERROR 500
#define BLUEMIX_RC_UNIMPLEMENTED 501

/* Status of firmware actions, i.e. mgmt.firmware.state.
 * Stored on device. */
#define BLUEMIX_FW_STATE_IDLE 0
#define BLUEMIX_FW_STATE_DOWNLOADING 1
#define BLUEMIX_FW_STATE_DOWNLOADED 2

/* Status of firmware update, i.e. mgmt.firmware.updateStatus.  Stored
 * on device. */
#define BLUEMIX_FW_UPDATE_NONE (-1) /* No update; Bluemix shouldn't query */
#define BLUEMIX_FW_UPDATE_SUCCESS 0
#define BLUEMIX_FW_UPDATE_IN_PROGRESS 1
#define BLUEMIX_FW_UPDATE_OOM 2
#define BLUEMIX_FW_UPDATE_CONN_LOST 3
#define BLUEMIX_FW_UPDATE_VERIFY_FAIL 4
#define BLUEMIX_FW_UPDATE_UNSUPP_IMAGE 5
#define BLUEMIX_FW_UPDATE_INVALID_URI 6

/**
 * @brief bluemix_ctx	Context structure for Bluemix
 *
 * All of this state is internal. Clients should interact using the
 * API functions defined below only.
 */
struct bluemix_ctx {
	struct mqtt_connect_msg connect_msg;
	struct mqtt_publish_msg pub_msg;

	struct mqtt_ctx mqtt_ctx;

	/*
	 * This variable will be passed to the connect callback, declared inside
	 * the mqtt context struct. If not used, it could be set to NULL.
	 */
	void *connect_data;

	/*
	 * This variable will be passed to the disconnect callback, declared
	 * inside the mqtt context struct. If not used, it could be set to NULL.
	 */
	void *disconnect_data;

	/*
	 * This variable will be passed to the publish_tx callback, declared
	 * inside the mqtt context struct. If not used, it could be set to NULL.
	 */
	void *publish_data;

	uint8_t bm_id[30];	   /* Bluemix device ID */
	uint8_t bm_json_buf[1024]; /* Buffer for JSON data */
	uint8_t bm_topic[255];	   /* Buffer for topic names */
	uint8_t bm_auth_token[20]; /* Bluemix authentication token */
	uint8_t client_id[50];	   /* MQTT client ID */

	/*
	 * HACK: Semaphore for waiting for a response from Bluemix.
	 *
	 * The Zephyr MQTT stack currently assumes that at most one
	 * MQTT command packet is stored in a net_buf. When two or
	 * more are received and packed into the same net_buf, this is
	 * resulting in all of them being interpreted as a single
	 * malformed packet.
	 *
	 * To work around that, try to make the MQTT stack's
	 * assumption valid by waiting whenever we expect a response
	 * via MQTT, to avoid multiple inbound response packets.
	 */
	struct k_sem reply_sem;
};

int bluemix_init(struct bluemix_ctx *ctx);

/**
 * @brief Publish a temperature reading from the device.
 * @param ctx Bluemix context to publish temperature on.
 * @param temperature Temperature reading in degrees centigrade.
 * @return 0 on success, negative errno on failure.
 */
int bluemix_pub_temp_c(struct bluemix_ctx *ctx, int temperature);

#endif /* (CONFIG_DM_BACKEND == BACKEND_BLUEMIX) */

#endif	/* __FOTA_BLUEMIX_H__ */
```

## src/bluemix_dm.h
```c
/*
 * Copyright (c) 2017 Linaro Limited
 *
 * SPDX-License-Identifier: Apache-2.0
 */

/**
 * @file
 * @brief Bluemix device management definitions.
 */

#ifndef __FOTA_BLUEMIX_DM_H__
#define __FOTA_BLUEMIX_DM_H__

/* Response codes for device management requests. */
#define BLUEMIX_RC_SUCCEEDED 200
#define BLUEMIX_RC_ACCEPTED 202
#define BLUEMIX_RC_CHANGED 204
#define BLUEMIX_RC_BAD_REQUEST 400
#define BLUEMIX_RC_NOT_FOUND 404
#define BLUEMIX_RC_CONFLICT 409
#define BLUEMIX_RC_ERROR 500
#define BLUEMIX_RC_UNIMPLEMENTED 501

/* Status of firmware actions, i.e. mgmt.firmware.state.
 * Stored on device. */
#define BLUEMIX_FW_STATE_IDLE 0
#define BLUEMIX_FW_STATE_DOWNLOADING 1
#define BLUEMIX_FW_STATE_DOWNLOADED 2

/* Status of firmware update, i.e. mgmt.firmware.updateStatus.  Stored
 * on device. */
#define BLUEMIX_FW_UPDATE_NONE (-1) /* No update; Bluemix shouldn't query */
#define BLUEMIX_FW_UPDATE_SUCCESS 0
#define BLUEMIX_FW_UPDATE_IN_PROGRESS 1
#define BLUEMIX_FW_UPDATE_OOM 2
#define BLUEMIX_FW_UPDATE_CONN_LOST 3
#define BLUEMIX_FW_UPDATE_VERIFY_FAIL 4
#define BLUEMIX_FW_UPDATE_UNSUPP_IMAGE 5
#define BLUEMIX_FW_UPDATE_INVALID_URI 6

#endif
```

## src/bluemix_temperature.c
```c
/*
 * Copyright (c) 2017 Linaro Limited
 *
 * SPDX-License-Identifier: Apache-2.0
 */

#include "bluemix_temperature.h"

#define SYS_LOG_DOMAIN "bluemix_temp"
#define SYS_LOG_LEVEL CONFIG_SYS_LOG_FOTA_LEVEL
#include <logging/sys_log.h>

#include <errno.h>
#include <stdio.h>

#include <zephyr.h>
#include <device.h>
#include <misc/reboot.h>
#include <sensor.h>
#include <tc_util.h>

#include "bluemix.h"

#include "app_work_queue.h"

#define MAX_FAILURES		5
#define NUM_TEST_RESULTS	5
#define MCU_TEMP_DEV		"fota-mcu-temp"
#define OFFCHIP_TEMP_DEV	"fota-offchip-temp"

struct temp_bluemix_data {
	struct device *mcu_dev;
	struct device *offchip_dev;
	int failures;

	/* For test reporting */
	struct k_work tc_work;
	u8_t tc_results[NUM_TEST_RESULTS];
	u8_t tc_count;
};

static struct temp_bluemix_data temp_bm_data;

static int cb_handle_result(struct temp_bluemix_data *data, int result)
{
	if (result) {
		if (++data->failures >= MAX_FAILURES) {
			SYS_LOG_ERR("Too many Bluemix errors, rebooting!");
			sys_reboot(0);
		}
	} else {
		data->failures = 0;
	}
	/* No reboot was necessary, so keep going. */
	return BLUEMIX_CB_OK;
}

/*
 * This work handler prints the results for publishing temperature
 * readings to Bluemix. It doesn't actually take temperature readings
 * or publish them via the network -- it's only responsible for
 * printing the test results themselves.
 */
static void bluemix_publish_result(struct k_work *work)
{
	struct temp_bluemix_data *data =
		CONTAINER_OF(work, struct temp_bluemix_data, tc_work);
	/*
	 * `result_name' is long enough for the function name, '_',
	 * two digits of test result, and '\0'. If NUM_TEST_RESULTS is
	 * 100 or more, space for more digits is needed.
	 */
	size_t result_len = strlen(__func__) + 1 + 2 + 1;
	char result_name[result_len];
	u8_t result, final_result = TC_PASS;
	size_t i;

	/* Ensure we have enough space to print the result name. */
	BUILD_ASSERT_MSG(NUM_TEST_RESULTS <= 99,
			 "result_len is too small to print test number");

	TC_START("Publish temperature to Bluemix");
	for (i = 0; i < data->tc_count; i++) {
		result = data->tc_results[i];
		snprintk(result_name, sizeof(result_name), "%s_%zu",
			 __func__, i);
		if (result == TC_FAIL) {
			final_result = TC_FAIL;
		}
		_TC_END_RESULT(result, result_name);
	}
	TC_END_REPORT(final_result);
}

static int init_temp_data(struct temp_bluemix_data *data)
{
	data->mcu_dev = device_get_binding(MCU_TEMP_DEV);
	data->offchip_dev = device_get_binding(OFFCHIP_TEMP_DEV);
	data->failures = 0;
	k_work_init(&data->tc_work, bluemix_publish_result);
	data->tc_count = 0;

	SYS_LOG_INF("%s MCU temperature sensor %s",
		    data->mcu_dev ? "Found" : "Did not find",
		    MCU_TEMP_DEV);
	SYS_LOG_INF("%s off-chip temperature sensor %s",
		    data->offchip_dev ? "Found" : "Did not find",
		    OFFCHIP_TEMP_DEV);

	if (!data->mcu_dev && !data->offchip_dev) {
		SYS_LOG_ERR("No temperature devices found.");
		return -ENODEV;
	}

	return 0;
}

static int read_temperature(struct device *temp_dev,
			    struct sensor_value *temp_val)
{
	__unused const char *name = temp_dev->config->name;
	int ret;

	ret = sensor_sample_fetch(temp_dev);
	if (ret) {
		SYS_LOG_ERR("%s: I/O error: %d", name, ret);
		return ret;
	}

	ret = sensor_channel_get(temp_dev, SENSOR_CHAN_TEMP, temp_val);
	if (ret) {
		SYS_LOG_ERR("%s: can't get data: %d", name, ret);
		return ret;
	}

	SYS_LOG_DBG("%s: read %d.%d C",
		    name, temp_val->val1, temp_val->val2);
	return 0;
}

static void handle_test_result(struct temp_bluemix_data *data, u8_t result)
{
	if (data->tc_count >= NUM_TEST_RESULTS) {
		return;
	}

	data->tc_results[data->tc_count++] = result;

	if (data->tc_count == NUM_TEST_RESULTS) {
		app_wq_submit(&data->tc_work);
	}
}

static int temp_bm_conn_fail(struct bluemix_ctx *ctx, void *data)
{
	return cb_handle_result(data, -ENOTCONN);
}

static int temp_bm_poll(struct bluemix_ctx *ctx, void *datav)
{
	struct temp_bluemix_data *data = datav;
	struct sensor_value mcu_val;
	struct sensor_value offchip_val;
	int ret = 0;

	/*
	 * Try to read temperature sensor values, and publish the
	 * whole number portion of temperatures that are read.
	 */
	if (data->mcu_dev) {
		ret = read_temperature(data->mcu_dev, &mcu_val);
	}
	if (ret) {
		goto out;
	}
	if (data->offchip_dev) {
		ret = read_temperature(data->offchip_dev, &offchip_val);
	}
	if (ret) {
		goto out;
	}

	if (data->mcu_dev && data->offchip_dev) {
		ret = bluemix_pub_status_json(ctx,
					      "{"
					      "\"mcutemp\":%d,"
					      "\"temperature\":%d"
					      "}",
					      mcu_val.val1,
					      offchip_val.val1);
	} else if (data->mcu_dev) {
		ret = bluemix_pub_status_json(ctx,
					      "{"
					      "\"mcutemp\":%d"
					      "}",
					      mcu_val.val1);
	} else {
		/* We know we have at least one device. */
		ret = bluemix_pub_status_json(ctx,
					      "{"
					      "\"temperature\":%d"
					      "}",
					      offchip_val.val1);
	}

 out:
	handle_test_result(data, ret ? TC_FAIL : TC_PASS);
	return cb_handle_result(data, ret);
}

static int temp_bm_cb(struct bluemix_ctx *ctx, int event, void *data)
{
	switch (event) {
	case BLUEMIX_EVT_CONN_FAIL:
		return temp_bm_conn_fail(ctx, data);
	case BLUEMIX_EVT_POLL:
		return temp_bm_poll(ctx, data);
	default:
		SYS_LOG_ERR("unexpected callback event %d", event);
		return BLUEMIX_CB_HALT;
	}
}

int bluemix_temperature_start(void)
{
	int ret;

	ret = init_temp_data(&temp_bm_data);
	if (ret) {
		SYS_LOG_ERR("can't initialize temperature sensors: %d", ret);
		return ret;
	}

	return bluemix_init(temp_bm_cb, &temp_bm_data);
}
```

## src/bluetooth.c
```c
/*
 * Copyright (c) 2016-2017 Linaro Limited
 * Copyright (c) 2018 Open Source Foundries Limited
 * Copyright (c) 2018 Foundries.io
 *
 * SPDX-License-Identifier: Apache-2.0
 */

#define LOG_MODULE_NAME fota_bluetooth
#define LOG_LEVEL CONFIG_FOTA_LOG_LEVEL

#include <logging/log.h>
LOG_MODULE_REGISTER(LOG_MODULE_NAME);

#include <zephyr/types.h>
#include <stddef.h>
#include <errno.h>
#include <zephyr.h>

#include <bluetooth/bluetooth.h>
#include <bluetooth/hci.h>
#include <bluetooth/conn.h>
#include "bluetooth.h"

#include <init.h>
#include <logging/log_ctrl.h>
#include <misc/reboot.h>
#include <net/bt.h>
#include <net/net_if.h>
#include <net/net_mgmt.h>
#include <tc_util.h>
#include <gpio.h>
#include <soc.h>

#include "product_id.h"

static void set_own_bt_addr(bt_addr_le_t *addr)
{
	int i;
	u8_t tmp;

	/*
	 * Generate a static BT addr using the unique product number.
	 */
	for (i = 0; i < 4; i++) {
		tmp = (product_id_get()->number >> i * 8) & 0xff;
		addr->a.val[i] = tmp;
	}

	addr->a.val[4] = 0xe7;
/*
 * For CONFIG_NET_L2_BT_ZEP1656, the U/L bit of the BT MAC is toggled by Zephyr.
 * Later that MAC is used to create the 6LOWPAN IPv6 address.  To account for
 * that, we set 0xd6 here which toggles to 0xd4 later (matching the Linux
 * gateway configuration for bt0).
 */
#if defined(CONFIG_NET_L2_BT_ZEP1656)
	addr->a.val[5] = 0xd6;
#else
	addr->a.val[5] = 0xd4;
#endif
}

/* BT LE Connect/Disconnect callbacks */
static void set_bluetooth_led(bool state)
{
#if defined(BT_GPIO_PIN) && defined(BT_GPIO_CONTROLLER)
	struct device *gpio;

	gpio = device_get_binding(BT_GPIO_CONTROLLER);
	gpio_pin_configure(gpio, BT_GPIO_PIN, GPIO_DIR_OUT);
	gpio_pin_write(gpio, BT_GPIO_PIN, state);
#endif
}

static void connected(struct bt_conn *conn, u8_t err)
{
	if (err) {
		LOG_ERR("BT LE Connection failed: %u", err);
	} else {
		LOG_INF("BT LE Connected");
		set_bluetooth_led(1);
	}
}

static void disconnected(struct bt_conn *conn, u8_t reason)
{
	LOG_ERR("BT LE Disconnected (reason %u), rebooting!", reason);
	set_bluetooth_led(0);
	LOG_PANIC();
	sys_reboot(0);
}

static struct bt_conn_cb conn_callbacks = {
	.connected = connected,
	.disconnected = disconnected,
};

static int network_init(struct device *dev)
{
	bt_addr_le_t bt_addr;
	int ret = 0;

	/* Storage used to provide a BT MAC based on the serial number */
	TC_PRINT("Setting Bluetooth MAC\n");

	memset(&bt_addr, 0, sizeof(bt_addr_le_t));
	bt_addr.type = BT_ADDR_LE_RANDOM;
	set_own_bt_addr(&bt_addr);
	ret = bt_set_id_addr(&bt_addr);
	bt_conn_cb_register(&conn_callbacks);

	return ret;
}

int bt_network_disable(void)
{
	/* TODO: use a better way to select BT interface */
	struct net_if *iface = net_if_get_default();
	int ret;

	ret = net_mgmt(NET_REQUEST_BT_DISCONNECT, iface, NULL, 0);
	if (ret < 0) {
		LOG_ERR("Disconnect failed:%d", ret);
		return ret;
	}

	ret = net_mgmt(NET_REQUEST_BT_ADVERTISE, iface, "off", 0);
	if (ret < 0) {
		LOG_ERR("Error stopping advertise:%d", ret);
		return ret;
	}

	return 0;
}

/* last priority in the POST_KERNEL init levels */
SYS_INIT(network_init, APPLICATION, CONFIG_APPLICATION_INIT_PRIORITY);
```

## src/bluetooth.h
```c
/*
 * Copyright (c) 2016 Linaro Limited
 * Copyright (c) 2018 Open Source Foundries Limited
 * Copyright (c) 2018 Foundries.io
 *
 * SPDX-License-Identifier: Apache-2.0
 */

#ifndef FOTA_BLUETOOTH_H__
#define FOTA_BLUETOOTH_H__

int bt_network_disable(void);

#endif /* FOTA_BLUETOOTH_H__ */
```

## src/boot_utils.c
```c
/*
 * Copyright (c) 2016 Linaro Limited
 *
 * Licensed under the Apache License, Version 2.0 (the "License");
 * you may not use this file except in compliance with the License.
 * You may obtain a copy of the License at
 *
 *     http://www.apache.org/licenses/LICENSE-2.0
 *
 * Unless required by applicable law or agreed to in writing, software
 * distributed under the License is distributed on an "AS IS" BASIS,
 * WITHOUT WARRANTIES OR CONDITIONS OF ANY KIND, either express or implied.
 * See the License for the specific language governing permissions and
 * limitations under the License.
 *
 */

#include <stddef.h>
#include <errno.h>
#include <flash.h>
#include <zephyr.h>

#include "ota_debug.h"
#include "boot_utils.h"
#include "device.h"

uint8_t boot_status_read(void)
{
	uint32_t offset;
	uint8_t img_ok = 0;

	offset = FLASH_BANK0_OFFSET + FLASH_BANK_SIZE -
				sizeof(struct boot_img_trailer);
	offset += (sizeof(uint32_t) + sizeof(uint8_t));
	flash_read(flash_dev, offset, &img_ok, sizeof(uint8_t));
	OTA_INFO("Current boot status %x\n", img_ok);

	return img_ok;
}

void boot_status_update(void)
{
	uint32_t offset;
	uint8_t img_ok = 0;

	offset = FLASH_BANK0_OFFSET + FLASH_BANK_SIZE -
				sizeof(struct boot_img_trailer);
	offset += (sizeof(uint32_t) + sizeof(uint8_t));
	flash_read(flash_dev, offset, &img_ok, sizeof(uint8_t));
	if (img_ok == 0xff) {
		img_ok = 0;
		flash_write_protection_set(flash_dev, false);
		flash_write(flash_dev, offset, &img_ok, sizeof(uint8_t));
		flash_write_protection_set(flash_dev, true);
		OTA_INFO("Updated boot status to %d\n", img_ok);
	}
}

void boot_trigger_ota(void)
{
	uint32_t offset;
	struct boot_img_trailer img_trailer;

	img_trailer.bit_copy_start = BOOT_IMG_MAGIC;
	img_trailer.bit_copy_done = 0xff;
	img_trailer.bit_img_ok = 0xff;

	offset = FLASH_BANK1_OFFSET + FLASH_BANK_SIZE -
				sizeof(struct boot_img_trailer);

	OTA_INFO("Setting trailer magic number and copy_done\n");
	flash_write_protection_set(flash_dev, false);
	flash_write(flash_dev, offset, &img_trailer,
				sizeof(struct boot_img_trailer));
	flash_write_protection_set(flash_dev, true);
}

uint32_t boot_acid_read(boot_acid_t type)
{
	struct boot_acid boot_acid;

	flash_read(flash_dev, FLASH_STATE_OFFSET, &boot_acid,
					sizeof(boot_acid));
	OTA_INFO("ACID: current %d, update %d\n", boot_acid.current,
					boot_acid.update);
	if (type == BOOT_ACID_UPDATE) {
		return boot_acid.update;
	} else {
		return boot_acid.current;
	}
}

void boot_acid_update(boot_acid_t type, uint32_t acid)
{
	struct boot_acid boot_acid;

	flash_read(flash_dev, FLASH_STATE_OFFSET, &boot_acid,
					sizeof(boot_acid));
	if (type == BOOT_ACID_UPDATE) {
		boot_acid.update = acid;
	} else {
		boot_acid.current = acid;
	}
	flash_erase(flash_dev, FLASH_STATE_OFFSET, FLASH_STATE_SIZE);
	flash_write_protection_set(flash_dev, false);
	flash_write(flash_dev, FLASH_STATE_OFFSET, &boot_acid,
					sizeof(boot_acid));
	flash_write_protection_set(flash_dev, true);
	OTA_INFO("ACID updated, current %d, update %d\n",
			boot_acid.current, boot_acid.update);
}

int boot_erase_flash_bank(uint32_t bank_offset)
{
	int ret;

	ret = flash_erase(flash_dev, bank_offset, FLASH_BANK_SIZE);
	if (!ret) {
		OTA_DBG("Flash bank (offset %x) erased successfully\n",
					bank_offset);
	}

	return ret;
}
```
